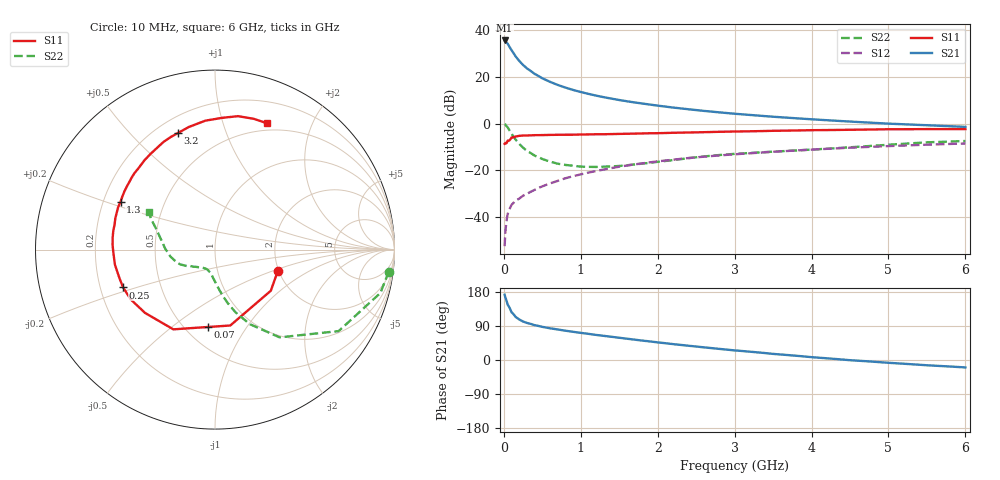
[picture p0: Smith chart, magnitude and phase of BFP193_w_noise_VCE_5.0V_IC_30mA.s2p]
! Infineon Technologies  Discrete & RF Semiconductors
! BFP193
! VCE =  5.0 V,  IC =  30 mA
! Common Emitter S-Parameters:  Jan 2017
# GHz  S  MA  R  50
!  f  S11  S21  S12  S22
! GHz  MAG  ANG  MAG  ANG  MAG  ANG  MAG  ANG
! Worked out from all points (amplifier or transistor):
!   77 points, 10 MHz to 6 GHz, reference 50 ohm
!   highest |S21| = 35.5 dB at 10 MHz (marker M1)
!   |S21| within 3 dB of that: start of sweep to 78.37 MHz
!   unconditionally stable (mu >= 1): 702 MHz to 2.416 GHz
!   at 130 MHz: K = 0.48, MSG = 31.8 dB, |S12| = -33.7 dB
!   at 2.2 GHz: K = 1.01, MAG = 10.5 dB, |S12| = -15.5 dB
!   at 6 GHz: K = 0.92, MSG = 3.5 dB, |S12| = -8.5 dB
!   lowest NFmin = 1.22 dB at 450 MHz
!   S11 on the Smith chart (normalised r, x): 10 MHz: 1.98, -0.54; 70 MHz: 0.64, -0.68; 250 MHz: 0.30, -0.18; 1.3 GHz: 0.27, +0.22; 3.2 GHz: 0.29, +0.69; 6 GHz: 0.42, +1.41
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0.01  0.3698 -18.6  59.41 172.2  0.0024 81.0  0.976 -7.2
0.02  0.3863 -36.4  58.61 165.2  0.0049 82.7  0.9527 -14.7
0.05  0.4314 -78.6  50.4 146.2  0.0117 68.1  0.8249 -33.4
0.07  0.4334 -95.5  44.37 139.6  0.0143 63.4  0.7279 -40.0
0.1  0.5013 -117.6  36.87 125.9  0.0183 58.8  0.6077 -53.6
0.15  0.5258 -137.9  27.56 114.3  0.0222 54.7  0.459 -64.9
0.2  0.5451 -149.3  21.73 106.9  0.0249 55.9  0.3676 -71.9
0.25  0.5538 -157.6  17.81 101.5  0.0287 56.6  0.3051 -76.7
0.3  0.5556 -163.3  15.04 97.8  0.0315 57.3  0.2611 -80.5
0.4  0.5638 -171.4  11.49 91.9  0.0383 61.1  0.2067 -86.1
0.5  0.566 -177.6  9.255 87.5  0.0455 62.4  0.1747 -90.6
0.6  0.5711 177.5  7.768 83.7  0.0525 63.2  0.1535 -94.9
0.7  0.574 173.4  6.673 80.6  0.0595 64.6  0.1386 -98.5
0.9  0.5766 165.9  5.209 74.4  0.0748 64.2  0.1252 -105.7
1.1  0.585 159.3  4.292 69.0  0.0896 63.7  0.1187 -112.4
1.3  0.5899 153.1  3.646 63.7  0.1042 61.6  0.1198 -119.3
2.1  0.6271 131.0  2.299 44.3  0.162 53.7  0.1583 -143.8
3.1  0.678 109.3  1.57 23.7  0.2255 41.7  0.2295 -163.7
3.2  0.682 107.5  1.524 21.9  0.2313 40.6  0.2345 -165.6
4.1  0.7223 92.8  1.203 6.0  0.2823 30.3  0.2833 176.5
5.1  0.7548 78.9  0.978 -8.6  0.3341 19.0  0.3605 158.7
6  0.7612 67.6  0.847 -19.6  0.375 9.0  0.4231 150.0
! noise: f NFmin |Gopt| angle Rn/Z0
0.45  1.22  0.33  -174  0.08
0.9  1.27  0.38  -173  0.07
1.9  1.89  0.57  -137  0.17
2.4  2.22  0.62  -121  0.38
